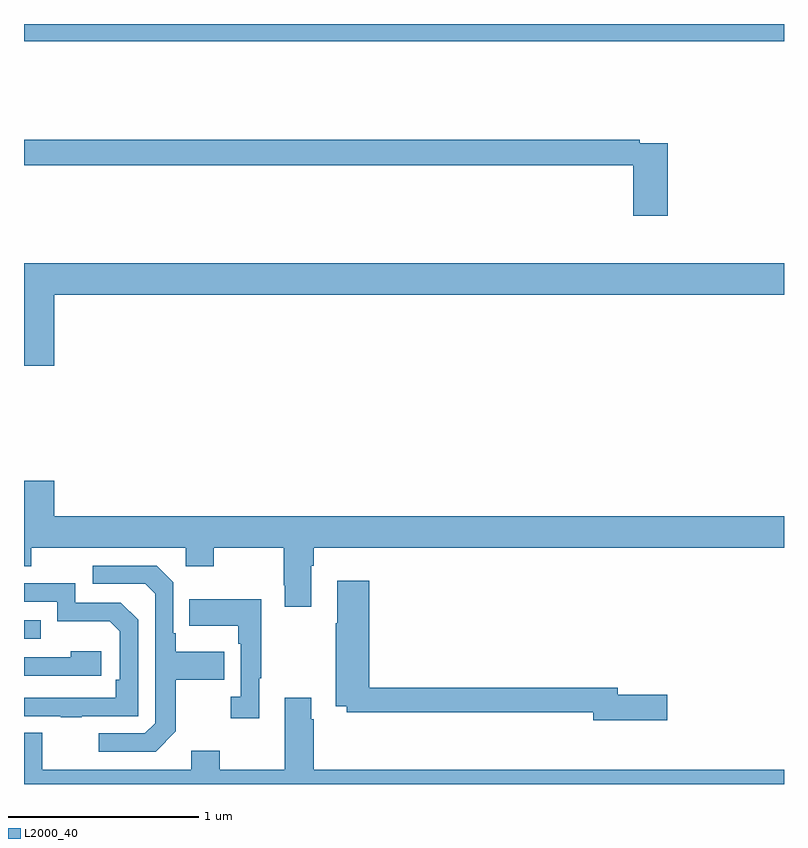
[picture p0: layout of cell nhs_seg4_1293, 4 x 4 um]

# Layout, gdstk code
import gdstk
lib = gdstk.Library(unit=1e-6, precision=1e-09)
def R(c, l, rs):  # rectangles x0, y0, x1, y1
    for r in rs: c.add(gdstk.rectangle(r[:2], r[2:], *l))
def P(c, l, *ps):  # polygons
    for p in ps: c.add(gdstk.Polygon(p, *l))
L2000_40 = (2000, 40)

nhs_seg4_1293 = lib.new_cell('nhs_seg4_1293')
R(nhs_seg4_1293, L2000_40, [(177,805.665,177.089,805.761), (177,808.808,181,808.9)])
P(nhs_seg4_1293, L2000_40, [(180.389,808.272),(180.242,808.272),(180.242,808.292),(177,808.292),(177,808.156),(180.206,808.156),(180.206,807.891),(180.389,807.891)],
  [(177.16,807.476),(181,807.476),(181,807.64),(177,807.64),(177,807.102),(177.16,807.102)],
  [(178.513,806.048),(178.526,806.048),(178.526,806.144),(181,806.144),(181,806.308),(177.16,806.308),(177.16,806.497),(177,806.497),(177,806.045),(177.039,806.045),(177.039,806.144),(177.852,806.144),(177.852,806.045),(177.999,806.045),(177.999,806.144),(178.366,806.144),(178.366,805.945),(178.373,805.945),(178.373,805.833),(178.513,805.833)],
  [(177.799,805.177),(177.799,805.45),(178.055,805.45),(178.055,805.597),(177.799,805.597),(177.799,805.693),(177.786,805.693),(177.786,805.962),(177.699,806.049),(177.363,806.049),(177.363,805.953),(177.639,805.953),(177.69,805.902),(177.69,805.221),(177.636,805.167),(177.393,805.167),(177.393,805.071),(177.693,805.071)],
  [(180.385,805.37),(180.124,805.37),(180.124,805.406),(178.817,805.406),(178.817,805.969),(178.649,805.969),(178.649,805.745),(178.642,805.745),(178.642,805.31),(178.698,805.31),(178.698,805.278),(179.996,805.278),(179.996,805.235),(180.385,805.235)],
  [(177.305,805.257),(177.6,805.257),(177.6,805.764),(177.51,805.854),(177.27,805.854),(177.27,805.956),(177,805.956),(177,805.86),(177.174,805.86),(177.174,805.757),(177.451,805.757),(177.504,805.704),(177.504,805.45),(177.484,805.45),(177.484,805.353),(177,805.353),(177,805.257),(177.193,805.257),(177.193,805.252),(177.305,805.252)],
  [(178.237,805.457),(178.249,805.457),(178.249,805.873),(177.871,805.873),(177.871,805.733),(178.128,805.733),(178.128,805.637),(178.14,805.637),(178.14,805.358),(178.089,805.358),(178.089,805.245),(178.237,805.245)],
  [(177.406,805.6),(177.245,805.6),(177.245,805.566),(177,805.566),(177,805.47),(177.406,805.47)],
  [(181,804.976),(178.526,804.976),(178.526,805.241),(178.513,805.241),(178.513,805.354),(178.373,805.354),(178.373,804.976),(178.029,804.976),(178.029,805.075),(177.881,805.075),(177.881,804.976),(177.097,804.976),(177.097,805.171),(177,805.171),(177,804.9),(181,804.9)])

lib.write_gds('nhs_seg4_1293.gds')
